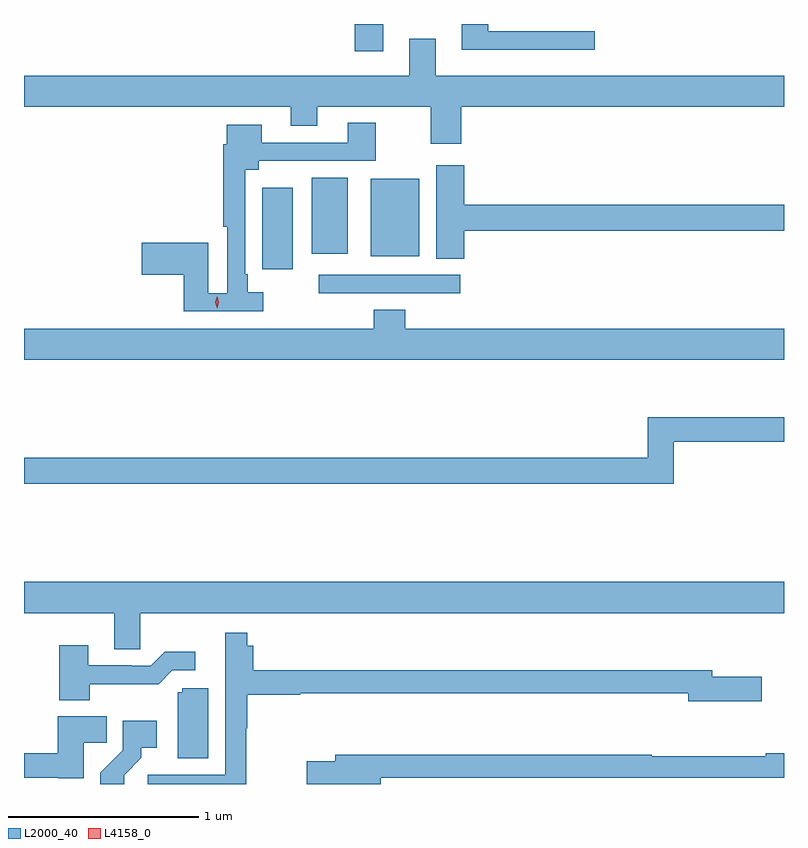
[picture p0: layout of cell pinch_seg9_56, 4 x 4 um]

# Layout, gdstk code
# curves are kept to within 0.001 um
import gdstk
lib = gdstk.Library(unit=1e-6, precision=1e-09)
def R(c, l, rs):  # rectangles x0, y0, x1, y1
    for r in rs: c.add(gdstk.rectangle(r[:2], r[2:], *l))
def P(c, l, *ps):  # polygons
    for p in ps: c.add(gdstk.Polygon(p, *l))
L2000_40 = (2000, 40)
L4158_0 = (4158, 0)

pinch_seg9_56 = lib.new_cell('pinch_seg9_56')
R(pinch_seg9_56, L2000_40, [(939.513,1187.448,940.258,1187.544), (939.215,1187.574,939.376,1188.001), (939.785,1187.642,940.042,1188.049), (939.476,1187.654,939.664,1188.055), (939.701,1188.72,939.853,1188.864)])
P(pinch_seg9_56, L2000_40, [(940.966,1188.825),(940.405,1188.825),(940.405,1188.864),(940.265,1188.864),(940.265,1188.728),(940.966,1188.728)],
  [(940.262,1188.428),(941.961,1188.428),(941.961,1188.592),(940.129,1188.592),(940.129,1188.787),(939.989,1188.787),(939.989,1188.592),(937.961,1188.592),(937.961,1188.428),(939.365,1188.428),(939.365,1188.329),(939.505,1188.329),(939.505,1188.428),(940.102,1188.428),(940.102,1188.234),(940.262,1188.234)],
  [(939.22,1187.452),(939.138,1187.452),(939.138,1187.548),(939.126,1187.548),(939.126,1188.098),(939.196,1188.098),(939.196,1188.144),(939.813,1188.144),(939.813,1188.343),(939.665,1188.343),(939.665,1188.24),(939.211,1188.24),(939.211,1188.334),(939.029,1188.334),(939.029,1188.23),(939.01,1188.23),(939.01,1187.797),(939.03,1187.797),(939.03,1187.448),(938.932,1187.448),(938.932,1187.714),(938.58,1187.714),(938.58,1187.543),(938.803,1187.543),(938.803,1187.352),(939.22,1187.352)],
  [(940.277,1187.776),(941.961,1187.776),(941.961,1187.912),(940.277,1187.912),(940.277,1188.121),(940.13,1188.121),(940.13,1187.629),(940.277,1187.629)],
  [(941.961,1187.26),(939.968,1187.26),(939.968,1187.359),(939.803,1187.359),(939.803,1187.26),(937.961,1187.26),(937.961,1187.096),(941.961,1187.096)],
  [(941.381,1186.666),(941.961,1186.666),(941.961,1186.795),(941.245,1186.795),(941.245,1186.58),(937.961,1186.58),(937.961,1186.444),(941.381,1186.444)],
  [(938.574,1185.764),(941.961,1185.764),(941.961,1185.928),(937.961,1185.928),(937.961,1185.764),(938.435,1185.764),(938.435,1185.574),(938.574,1185.574)],
  [(939.13,1185.157),(939.137,1185.157),(939.137,1185.334),(939.414,1185.334),(939.414,1185.342),(941.456,1185.342),(941.456,1185.299),(941.845,1185.299),(941.845,1185.429),(941.584,1185.429),(941.584,1185.463),(939.167,1185.463),(939.167,1185.592),(939.137,1185.592),(939.137,1185.661),(939.021,1185.661),(939.021,1184.913),(938.613,1184.913),(938.613,1184.864),(939.13,1184.864)],
  [(938.307,1185.39),(938.669,1185.389),(938.742,1185.462),(938.863,1185.462),(938.863,1185.559),(938.701,1185.559),(938.628,1185.486),(938.528,1185.486),(938.528,1185.489),(938.299,1185.489),(938.299,1185.595),(938.147,1185.595),(938.147,1185.305),(938.307,1185.305)],
  [(938.932,1185.369),(938.793,1185.369),(938.793,1185.348),(938.771,1185.348),(938.771,1185),(938.932,1185)],
  [(938.275,1185.082),(938.396,1185.082),(938.396,1185.22),(938.138,1185.22),(938.138,1185.026),(937.961,1185.026),(937.961,1184.898),(938.142,1184.898),(938.142,1184.894),(938.275,1184.894)],
  [(938.488,1184.911),(938.578,1185.001),(938.578,1185.056),(938.659,1185.056),(938.659,1185.196),(938.481,1185.196),(938.481,1185.041),(938.362,1184.922),(938.362,1184.864),(938.488,1184.864)],
  [(939.838,1184.898),(941.961,1184.898),(941.961,1185.026),(941.866,1185.026),(941.866,1185.011),(941.266,1185.011),(941.266,1185.019),(939.599,1185.019),(939.599,1184.985),(939.45,1184.985),(939.45,1184.864),(939.838,1184.864)])
P(pinch_seg9_56, L4158_0, [(938.977,1187.368),(938.977,1187.368),(938.967,1187.399),(938.977,1187.43),(938.977,1187.43),(938.978,1187.43),(938.987,1187.399),(938.978,1187.368)])

lib.write_gds('pinch_seg9_56.gds')
